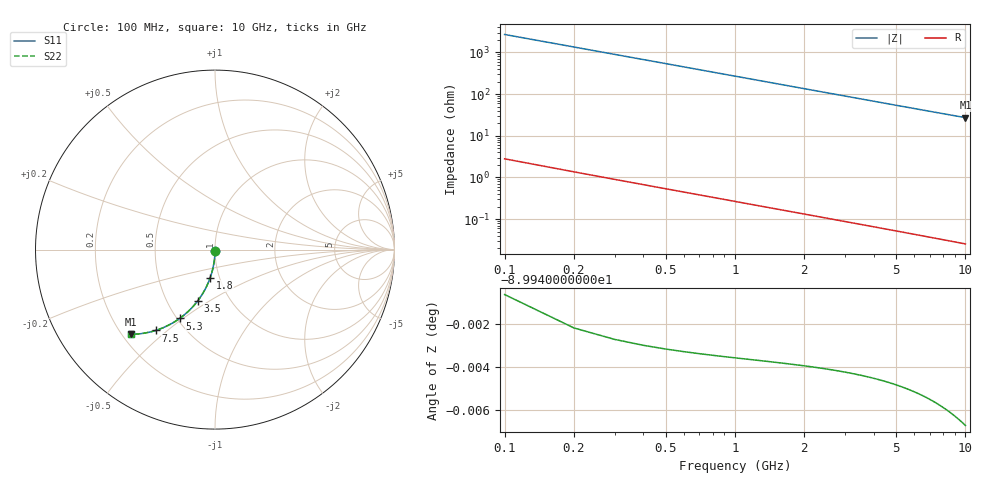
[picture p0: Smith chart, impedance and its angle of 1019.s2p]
# Hz S RI R 50.00
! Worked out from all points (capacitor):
!   100 points, 100 MHz to 10 GHz, reference 50 ohm
!   read as one part in shunt: C = 591 fF near 100 MHz
!   lowest |Z| = 27.2 ohm at 10 GHz (marker M1)
!   S11 on the Smith chart (normalised r, x): 100 MHz: 1.00, -0.02; 1.8 GHz: 0.90, -0.29; 3.5 GHz: 0.71, -0.44; 5.3 GHz: 0.52, -0.49; 7.5 GHz: 0.35, -0.46; 10 GHz: 0.23, -0.40
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1e8  -3.97e-05 -0.00902  0.9998 -0.00953  0.9998 -0.00953  -3.97e-05 -0.00902
2e8  -0.000306 -0.018  0.9996 -0.0191  0.9996 -0.0191  -0.000306 -0.018
3e8  -0.000745 -0.027  0.9991 -0.0286  0.9991 -0.0286  -0.000745 -0.027
4e8  -0.00135 -0.036  0.9985 -0.0381  0.9985 -0.0381  -0.00135 -0.036
5e8  -0.00214 -0.045  0.9977 -0.0476  0.9977 -0.0476  -0.00214 -0.045
6e8  -0.00309 -0.054  0.9968 -0.057  0.9968 -0.057  -0.00309 -0.054
8e8  -0.00549 -0.0718  0.9944 -0.0759  0.9944 -0.0759  -0.00549 -0.0718
1.1e9  -0.0104 -0.0982  0.9895 -0.1039  0.9895 -0.1039  -0.0104 -0.0982
1.4e9  -0.0167 -0.1242  0.9832 -0.1314  0.9832 -0.1314  -0.0167 -0.1242
1.8e9  -0.0273 -0.158  0.9726 -0.1673  0.9726 -0.1673  -0.0273 -0.158
2.1e9  -0.0368 -0.1825  0.9631 -0.1933  0.9631 -0.1933  -0.0368 -0.1825
2.5e9  -0.0513 -0.214  0.9485 -0.2269  0.9485 -0.2269  -0.0513 -0.214
2.9e9  -0.0679 -0.2438  0.9318 -0.2588  0.9318 -0.2588  -0.0679 -0.2438
3.4e9  -0.0911 -0.2787  0.9086 -0.2963  0.9086 -0.2963  -0.0911 -0.2787
3.5e9  -0.0961 -0.2853  0.9037 -0.3034  0.9037 -0.3034  -0.0961 -0.2853
4.3e9  -0.1384 -0.3339  0.8612 -0.3562  0.8612 -0.3562  -0.1384 -0.3339
5.1e9  -0.1846 -0.3744  0.8149 -0.401  0.8149 -0.401  -0.1846 -0.3744
5.3e9  -0.1966 -0.3833  0.8029 -0.4109  0.8029 -0.4109  -0.1966 -0.3833
6.7e9  -0.2819 -0.4321  0.7174 -0.4671  0.7174 -0.4671  -0.2819 -0.4321
7.5e9  -0.3302 -0.4503  0.6689 -0.4897  0.6689 -0.4897  -0.3302 -0.4503
8.4e9  -0.3828 -0.4635  0.6161 -0.5079  0.6161 -0.5079  -0.3828 -0.4635
1e10  -0.4691 -0.472  0.5294 -0.5252  0.5294 -0.5252  -0.4691 -0.472
